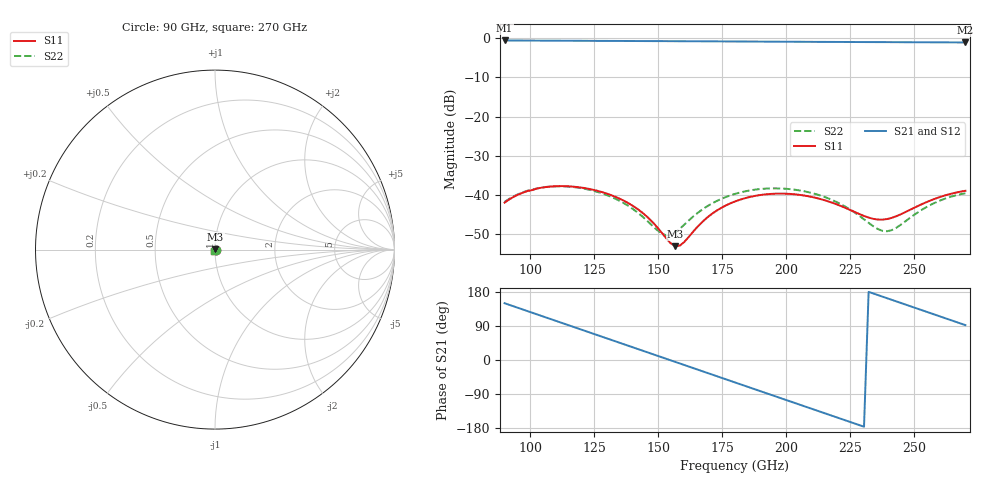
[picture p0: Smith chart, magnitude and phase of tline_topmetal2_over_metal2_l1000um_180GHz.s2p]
#  GHZ S DB R 50
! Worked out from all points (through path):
!   101 points, 90 GHz to 270 GHz, reference 50 ohm
!   highest |S21| = -0.56 dB at 90 GHz (marker M1); lowest = -1.1 dB at 270 GHz (marker M2)
!   group delay of S21, straight-line fit = 6.45 ps
!   lowest |S11| = -53.1 dB at 156.6 GHz (marker M3), VSWR 1.00, Z = 50.1 + j0.192 ohm
!   |S11| at or under -10 dB: start of sweep to end of sweep
!   |S22| runs from -50.3 to -37.8 dB; largest |S21 - S12| = 1e-13
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90  -41.93 -31.2  -0.56 149.8  -0.56 149.8  -41.75 -30.8
97.2  -39.38 -55.7  -0.58 133.1  -0.58 133.1  -39.28 -55.4
106.2  -37.96 -83.5  -0.60 112.2  -0.60 112.2  -37.94 -83.4
113.4  -37.74 -105.1  -0.62 95.5  -0.62 95.5  -37.80 -105.2
120.6  -38.16 -126.4  -0.65 78.7  -0.65 78.7  -38.33 -127.0
129.6  -39.56 -153.5  -0.67 57.9  -0.67 57.9  -39.94 -155.4
138.6  -42.17 177.0  -0.69 37.0  -0.69 37.0  -42.90 172.1
151.2  -49.47 116.7  -0.73 7.7  -0.73 7.7  -49.76 92.3
156.6  -53.05 59.4  -0.74 -4.9  -0.74 -4.9  -49.60 33.7
160.2  -51.98 13.0  -0.75 -13.2  -0.75 -13.2  -47.55 3.1
167.4  -46.75 -40.6  -0.77 -29.9  -0.77 -29.9  -43.62 -36.8
180  -41.64 -91.6  -0.81 -59.2  -0.81 -59.2  -39.72 -84.1
187.2  -40.30 -116.1  -0.84 -75.9  -0.84 -75.9  -38.69 -107.8
194.4  -39.70 -139.9  -0.86 -92.6  -0.86 -92.6  -38.30 -130.7
201.6  -39.73 -163.8  -0.88 -109.3  -0.88 -109.3  -38.51 -153.4
210.6  -40.58 165.1  -0.91 -130.2  -0.91 -130.2  -39.59 177.5
219.6  -42.35 130.2  -0.94 -151.0  -0.94 -151.0  -41.76 145.8
226.8  -44.34 95.9  -0.95 -167.7  -0.95 -167.7  -44.49 115.2
235.8  -46.26 38.4  -0.98 171.4  -0.98 171.4  -48.68 55.9
241.2  -45.83 -0.3  -0.99 158.9  -0.99 158.9  -48.96 5.1
257.4  -41.13 -84.3  -1.03 121.3  -1.03 121.3  -42.19 -89.7
270  -38.91 -129.2  -1.07 92.0  -1.07 92.0  -39.55 -134.3
